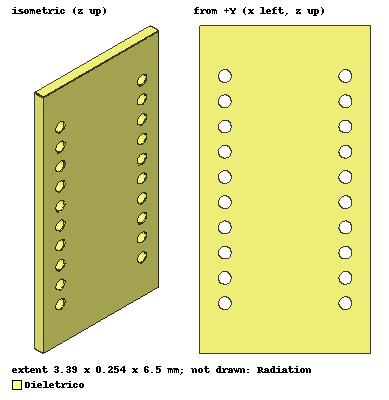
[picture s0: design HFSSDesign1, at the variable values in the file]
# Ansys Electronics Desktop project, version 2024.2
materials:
  vacuum: permittivity=1
  copper: permeability=0.999991 conductivity=58000000
  air: permittivity=1.0006 permeability=1.0000004
  Arlon DiClad 880 (tm): permittivity=2.2 dielectric_loss_tangent=0.0009
  Al2_O3_ceramic: permittivity=9.8
  Arlon 25FR (tm): permittivity=3.58 dielectric_loss_tangent=0.0035

design HFSSDesign1 (HFSS, HFSS Modal Network, model units mm)
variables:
  a = 3.39mm
  b = 0.254mm
  L = 6.5mm
  th = 0.05mm
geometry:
  Radiation [air] = box(corner=(-a/2 -2.5mm, -b/2 -2.5mm, 0mm), size=(a+5mm, b+5mm, L))
  Cylinder2 = cylinder(axis=Y, base_centre=(-(2.39/2) mm, -b/2, 1mm), radius=(0.254/2) mm, height=b)
  Cylinder2_1..Cylinder2_9 = Cylinder2.duplicate_along_line(step=(0mm, 0mm, 0.5mm), total=10)
  Cylinder2_10 = Cylinder2.duplicate_along_line(step=(2.39mm, 0mm, 0mm), total=2)
  Cylinder2.delete()
  Cylinder2_10_1..Cylinder2_10_9 = Cylinder2_10.duplicate_along_line(step=(0mm, 0mm, 0.5mm), total=10)
  Dieletrico [Al2_O3_ceramic] = box(corner=(-a/2, -b/2, 0mm), size=(a, b, L))
  Cylinder2_1_1 = Cylinder2_1.duplicate_along_line(step=(0mm, 0mm, -0.5mm), total=2)
  Dieletrico.subtract(Cylinder2_1, Cylinder2_1_1, Cylinder2_10, Cylinder2_10_1..Cylinder2_10_9, Cylinder2_2..Cylinder2_9)
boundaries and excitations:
  Rad1: Radiation Objects=Radiation
  PerfE1: Perfect E Faces=Dieletrico.face(-y, +y)
  PerfE2: Perfect E Faces=Dieletrico.face(at (-1.195, 0, 1.373), at (-1.195, 0, 0.873), at (-1.195, 0, 1.873), at (-1.195, 0, 2.373), at (-1.195, 0, 2.873), at (-1.195, 0, 3.373), at (-1.195, 0, 3.873), at (-1.195, 0, 4.373), at (-1.195, 0, 4.873), at (-1.195, 0, 5.373), at (1.195, 0, 0.873), at (1.195, 0, 1.373)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)
  1: Wave Port Faces=Dieletrico.face(-z) WavePortType=Default NumModes=4 Modes{Mode1{IntLine{(0, -0.127, 0) -> (0, 0.127, 0)} CharImp=Zpi} Mode2{CharImp=Zpi} Mode3{CharImp=Zpi} Mode4{CharImp=Zpi}}
  2: Wave Port Faces=Dieletrico.face(+z) WavePortType=Default NumModes=4 Modes{Mode1{IntLine{(0, -0.127, 6.5) -> (0, 0.127, 6.5)} CharImp=Zpi} Mode2{CharImp=Zpi} Mode3{CharImp=Zpi} Mode4{CharImp=Zpi}}
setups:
  Setup1: HfssDriven Frequency=43GHz MaxDeltaS=0.02 MaximumPasses=20 MinimumPasses=1 MinimumConvergedPasses=1 PercentRefinement=30 BasisOrder=1 PortAccuracy=2 DrivenSolverType="Direct Solver"
    sweep Sweep: 13GHz to 44GHz step 1GHz; Type=Discrete SaveFields
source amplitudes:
  1:1: 1W 0deg
  1:2, 1:3, 1:4, 2:1..2:4: 0W 0deg
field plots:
  Mag_E1: E Field in Dieletrico on Setup1 : Sweep at Freq=45GHz Phase=0deg
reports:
  Gamma Plot 1: im(Gamma(1:1)), im(Gamma(1:2)), im(Gamma(1:3)) vs Freq on Setup1 : Sweep; markers m1 at 14GHz, m2 at 28GHz, m3 at 42GHz
  S Parameter Plot 1: dB(S(1:1,2:1)), dB(S(1:2,2:2)), dB(S(1:3,2:3)) vs Freq on Setup1 : Sweep
